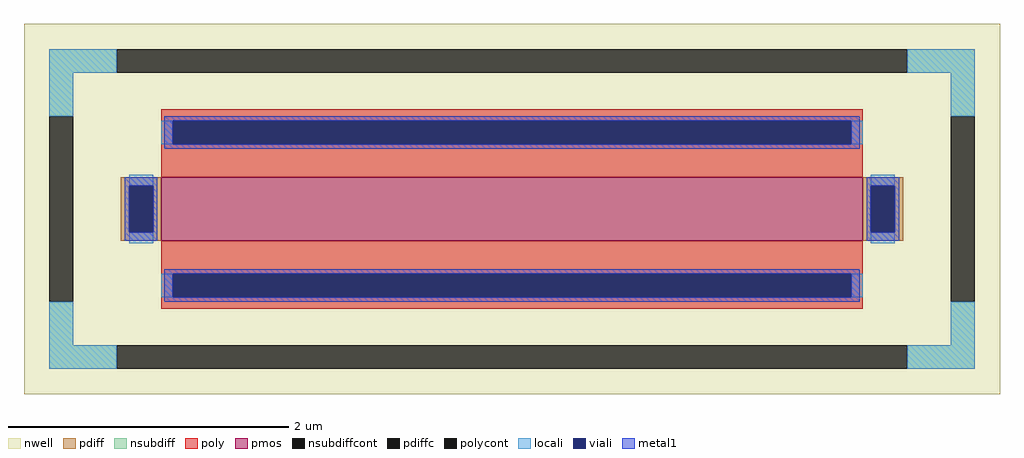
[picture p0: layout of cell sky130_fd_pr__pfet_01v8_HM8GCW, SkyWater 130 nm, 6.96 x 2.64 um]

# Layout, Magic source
magic
tech sky130A
magscale 1 2
<< nwell >>
rect -696 -264 696 264
<< pmos >>
rect -500 -45 500 45
<< pdiff >>
rect -558 33 -500 45
rect -558 -33 -546 33
rect -512 -33 -500 33
rect -558 -45 -500 -33
rect 500 33 558 45
rect 500 -33 512 33
rect 546 -33 558 33
rect 500 -45 558 -33
<< pdiffc >>
rect -546 -33 -512 33
rect 512 -33 546 33
<< nsubdiff >>
rect -660 194 -564 228
rect 564 194 660 228
rect -660 132 -626 194
rect 626 132 660 194
rect -660 -194 -626 -132
rect 626 -194 660 -132
rect -660 -228 -564 -194
rect 564 -228 660 -194
<< nsubdiffcont >>
rect -564 194 564 228
rect -660 -132 -626 132
rect 626 -132 660 132
rect -564 -228 564 -194
<< poly >>
rect -500 126 500 142
rect -500 92 -484 126
rect 484 92 500 126
rect -500 45 500 92
rect -500 -92 500 -45
rect -500 -126 -484 -92
rect 484 -126 500 -92
rect -500 -142 500 -126
<< polycont >>
rect -484 92 484 126
rect -484 -126 484 -92
<< locali >>
rect -660 194 -564 228
rect 564 194 660 228
rect -660 132 -626 194
rect 626 132 660 194
rect -500 92 -484 126
rect 484 92 500 126
rect -546 33 -512 49
rect -546 -49 -512 -33
rect 512 33 546 49
rect 512 -49 546 -33
rect -500 -126 -484 -92
rect 484 -126 500 -92
rect -660 -194 -626 -132
rect 626 -194 660 -132
rect -660 -228 -564 -194
rect 564 -228 660 -194
<< viali >>
rect -484 92 484 126
rect -546 -33 -512 33
rect 512 -33 546 33
rect -484 -126 484 -92
<< metal1 >>
rect -496 126 496 132
rect -496 92 -484 126
rect 484 92 496 126
rect -496 86 496 92
rect -552 33 -506 45
rect -552 -33 -546 33
rect -512 -33 -506 33
rect -552 -45 -506 -33
rect 506 33 552 45
rect 506 -33 512 33
rect 546 -33 552 33
rect 506 -45 552 -33
rect -496 -92 496 -86
rect -496 -126 -484 -92
rect 484 -126 496 -92
rect -496 -132 496 -126
<< properties >>
string FIXED_BBOX -643 -211 643 211
string gencell sky130_fd_pr__pfet_01v8
string library sky130
string parameters w 0.45 l 5.0 m 1 nf 1 diffcov 100 polycov 100 guard 1 glc 1 grc 1 gtc 1 gbc 1 tbcov 100 rlcov 100 topc 1 botc 1 poverlap 0 doverlap 1 lmin 0.15 wmin 0.42 compatible {sky130_fd_pr__pfet_01v8  sky130_fd_pr__pfet_01v8_lvt sky130_fd_pr__pfet_01v8_hvt  sky130_fd_pr__pfet_g5v0d10v5} full_metal 1 viasrc 100 viadrn 100 viagate 100 viagb 0 viagr 0 viagl 0 viagt 0
<< end >>
